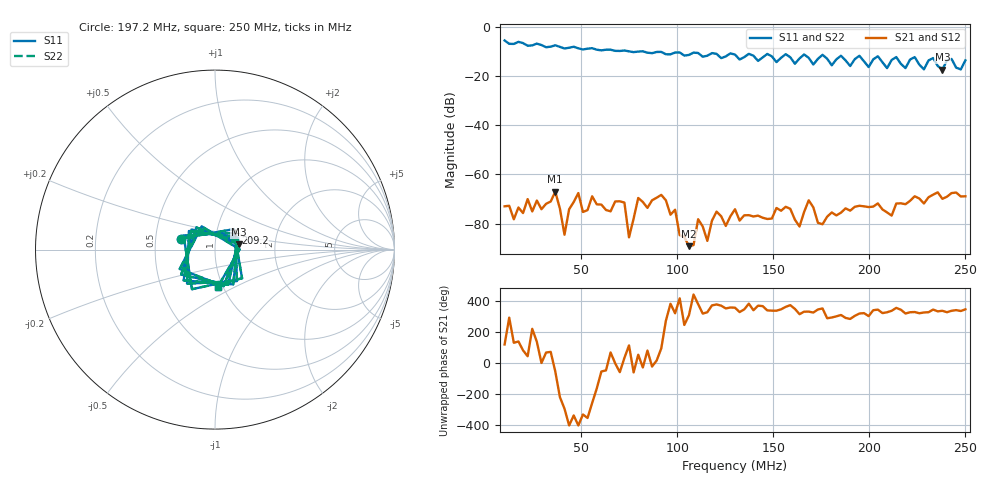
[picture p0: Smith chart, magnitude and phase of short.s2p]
# Hz S RI R 50
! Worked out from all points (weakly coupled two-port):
!   101 points, 10 MHz to 250 MHz, reference 50 ohm
!   highest |S21| = -67.04 dB at 36.4 MHz (marker M1); lowest = -89.2 dB at 106 MHz (marker M2)
!   lowest |S11| = -17.3 dB at 238 MHz (marker M3), VSWR 1.32, Z = 65.3 + j3.87 ohm
!   |S11| at or under -10 dB: 75.69 MHz to 79.25 MHz (3.555 MHz wide, 4.59 % of centre); 82.62 MHz to end of sweep
!   |S22| runs from -17.3 to -5.4 dB; largest |S21 - S12| = 0
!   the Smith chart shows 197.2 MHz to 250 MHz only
!   S11 on the Smith chart (normalised r, x): 197.2 MHz: 0.67, +0.09; 209.2 MHz: 1.23, +0.23; 250 MHz: 0.94, -0.41
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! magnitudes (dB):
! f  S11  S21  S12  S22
! 10 MHz  -5.4  -73.0  -73.0  -5.4
! 14.8 MHz  -6.9  -78.3  -78.3  -6.9
! 36.4 MHz  -7.4  -67.0  -67.0  -7.4
! 41.2 MHz  -8.7  -84.6  -84.6  -8.7
! 48.4 MHz  -8.6  -67.6  -67.6  -8.6
! 50.8 MHz  -9.1  -75.3  -75.3  -9.1
! 55.6 MHz  -8.6  -68.9  -68.9  -8.6
! 70 MHz  -9.7  -70.9  -70.9  -9.7
! 74.8 MHz  -9.9  -85.6  -85.6  -9.9
! 79.6 MHz  -10.0  -69.6  -69.6  -10.0
! 91.6 MHz  -10.1  -68.3  -68.3  -10.1
! 106 MHz  -11.3  -89.2  -89.2  -11.3
! 130 MHz  -11.2  -74.2  -74.2  -11.2
! 156.4 MHz  -11.0  -73.2  -73.2  -11.0
! 163.6 MHz  -12.8  -81.2  -81.2  -12.8
! 170.8 MHz  -15.2  -73.4  -73.4  -15.2
! 175.6 MHz  -11.3  -80.3  -80.3  -11.3
! 197.2 MHz  -13.9  -73.0  -73.0  -13.9
! 209.2 MHz  -16.7  -75.5  -75.5  -16.7
! 211.6 MHz  -13.4  -76.8  -76.8  -13.4
! 238 MHz  -17.3  -69.9  -69.9  -17.3
! 250 MHz  -13.6  -68.9  -68.9  -13.6
